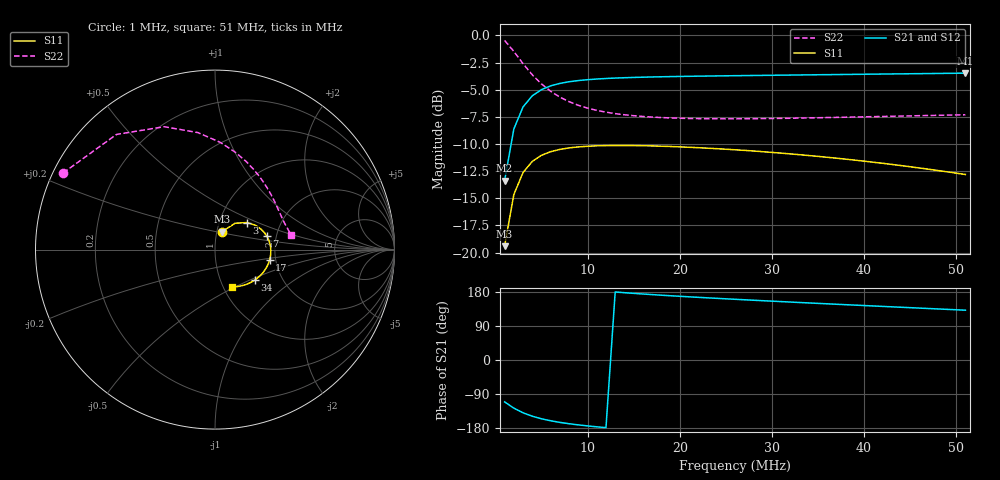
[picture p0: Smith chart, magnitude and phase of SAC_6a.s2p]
# MHz S RI R 50
! S-Parameters data
! Freq  reS11  imS11  reS21  imS21  reS12  imS12  reS22  imS22
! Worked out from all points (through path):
!   51 points, 1 MHz to 51 MHz, reference 50 ohm
!   highest |S21| = -3.48 dB at 51 MHz (marker M1); lowest = -13.4 dB at 1 MHz (marker M2)
!   lowest |S11| = -19.4 dB at 1 MHz (marker M3), VSWR 1.24, Z = 52.9 + j10.7 ohm
!   |S11| at or under -10 dB: start of sweep to end of sweep
!   |S22| runs from -7.7 to -0.5 dB; largest |S21 - S12| = 0.00034
!   S11 on the Smith chart (normalised r, x): 1 MHz: 1.06, +0.21; 3 MHz: 1.36, +0.43; 7 MHz: 1.78, +0.29; 17 MHz: 1.86, -0.23; 34 MHz: 1.46, -0.53; 51 MHz: 1.10, -0.48
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1  0.0381 0.0999  -0.0752 -0.2007  -0.0752 -0.2006  -0.8466 0.4268
2  0.1124 0.1468  -0.2233 -0.2958  -0.2233 -0.2958  -0.5488 0.6416
3  0.1785 0.1508  -0.3551 -0.3054  -0.355 -0.3052  -0.2834 0.6848
4  0.2251 0.1355  -0.4485 -0.2767  -0.4485 -0.2767  -0.0951 0.6518
5  0.2558 0.1147  -0.5104 -0.2369  -0.5107 -0.237  0.031 0.5967
6  0.276 0.0935  -0.5519 -0.1967  -0.552 -0.1966  0.1162 0.5404
7  0.2893 0.0737  -0.5797 -0.1591  -0.5799 -0.1591  0.175 0.4894
8  0.2982 0.0556  -0.5991 -0.1251  -0.5991 -0.1249  0.2168 0.4452
9  0.304 0.0392  -0.6124 -0.0942  -0.6125 -0.0941  0.2473 0.4074
10  0.3076 0.0242  -0.6218 -0.066  -0.6219 -0.0659  0.2706 0.3751
11  0.3099 0.0105  -0.6285 -0.0402  -0.6287 -0.04  0.2884 0.3474
13  0.3108 -0.0142  -0.6362 0.00574  -0.6361 0.00592  0.3141 0.3029
15  0.3088 -0.0358  -0.6388 0.0462  -0.6388 0.0464  0.3315 0.2688
17  0.3048 -0.0552  -0.6384 0.0832  -0.6383 0.0831  0.344 0.2421
18  0.3021 -0.0643  -0.6371 0.1004  -0.6372 0.1004  0.3492 0.2308
22  0.2881 -0.0969  -0.6282 0.1638  -0.628 0.1638  0.3649 0.1951
26  0.27 -0.1246  -0.6139 0.221  -0.6139 0.2209  0.3765 0.1697
34  0.2235 -0.1682  -0.5733 0.3232  -0.5734 0.3232  0.3947 0.1341
35  0.217 -0.1725  -0.5674 0.3352  -0.5675 0.3351  0.3967 0.1305
43  0.1594 -0.1985  -0.5116 0.4242  -0.5117 0.424  0.4114 0.1041
47  0.1279 -0.2054  -0.4789 0.4648  -0.4791 0.4648  0.4178 0.0918
51  0.0954 -0.2079  -0.4434 0.5027  -0.4436 0.5025  0.4234 0.0797
